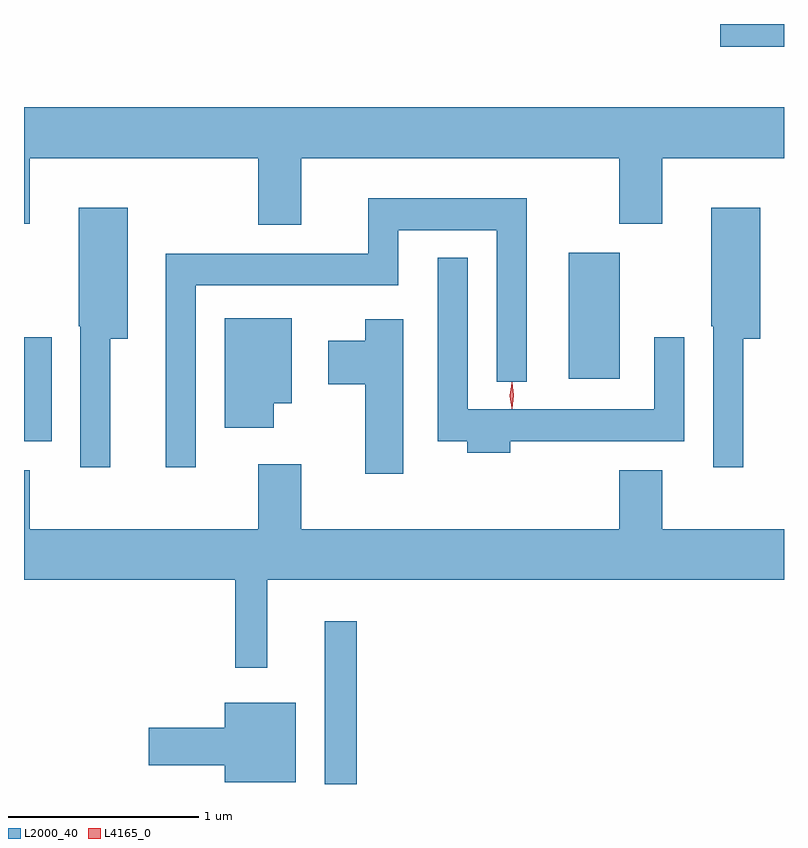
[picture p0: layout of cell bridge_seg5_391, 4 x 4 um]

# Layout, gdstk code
import gdstk
lib = gdstk.Library(unit=1e-6, precision=1e-09)
def R(c, l, rs):  # rectangles x0, y0, x1, y1
    for r in rs: c.add(gdstk.rectangle(r[:2], r[2:], *l))
def P(c, l, *ps):  # polygons
    for p in ps: c.add(gdstk.Polygon(p, *l))
L2000_40 = (2000, 40)
L4165_0 = (4165, 0)

bridge_seg5_391 = lib.new_cell('bridge_seg5_391')
R(bridge_seg5_391, L2000_40, [(532.171,1511.222,532.339,1512.078), (530.589,1513.026,530.734,1513.573), (533.456,1513.356,533.724,1514.019), (534.253,1515.101,534.589,1515.222)])
P(bridge_seg5_391, L2000_40, [(532.049,1514.516),(533.721,1514.516),(533.721,1514.171),(533.949,1514.171),(533.949,1514.516),(534.589,1514.516),(534.589,1514.784),(530.589,1514.784),(530.589,1514.171),(530.619,1514.171),(530.619,1514.516),(531.821,1514.516),(531.821,1514.166),(532.049,1514.166)],
  [(531.494,1513.846),(532.559,1513.846),(532.559,1514.136),(533.076,1514.136),(533.076,1513.338),(533.234,1513.338),(533.234,1514.304),(532.401,1514.304),(532.401,1514.014),(531.336,1514.014),(531.336,1512.888),(531.494,1512.888)],
  [(531.044,1513.566),(531.134,1513.566),(531.134,1514.254),(530.876,1514.254),(530.876,1513.63),(530.886,1513.63),(530.886,1512.888),(531.044,1512.888)],
  [(534.374,1513.566),(534.464,1513.566),(534.464,1514.254),(534.206,1514.254),(534.206,1513.63),(534.216,1513.63),(534.216,1512.888),(534.374,1512.888)],
  [(533.149,1513.026),(534.064,1513.026),(534.064,1513.573),(533.906,1513.573),(533.906,1513.194),(532.924,1513.194),(532.924,1513.993),(532.766,1513.993),(532.766,1513.026),(532.921,1513.026),(532.921,1512.966),(533.149,1512.966)],
  [(531.904,1513.226),(531.999,1513.226),(531.999,1513.674),(531.646,1513.674),(531.646,1513.096),(531.904,1513.096)],
  [(532.584,1513.669),(532.386,1513.669),(532.386,1513.554),(532.191,1513.554),(532.191,1513.326),(532.386,1513.326),(532.386,1512.856),(532.584,1512.856)],
  [(531.869,1512.296),(534.589,1512.296),(534.589,1512.564),(533.949,1512.564),(533.949,1512.874),(533.721,1512.874),(533.721,1512.564),(532.049,1512.564),(532.049,1512.904),(531.821,1512.904),(531.821,1512.564),(530.619,1512.564),(530.619,1512.874),(530.589,1512.874),(530.589,1512.296),(531.701,1512.296),(531.701,1511.833),(531.869,1511.833)],
  [(532.019,1511.649),(531.646,1511.649),(531.646,1511.519),(531.246,1511.519),(531.246,1511.321),(531.646,1511.321),(531.646,1511.231),(532.019,1511.231)])
P(bridge_seg5_391, L4165_0, [(533.157,1513.197),(533.157,1513.197),(533.147,1513.267),(533.157,1513.336),(533.157,1513.336),(533.158,1513.336),(533.167,1513.267),(533.158,1513.197)],
  [(533.156,1513.199),(533.155,1513.2),(533.146,1513.266),(533.155,1513.332),(533.156,1513.333),(533.156,1513.332),(533.166,1513.266),(533.156,1513.2)])

lib.write_gds('bridge_seg5_391.gds')
